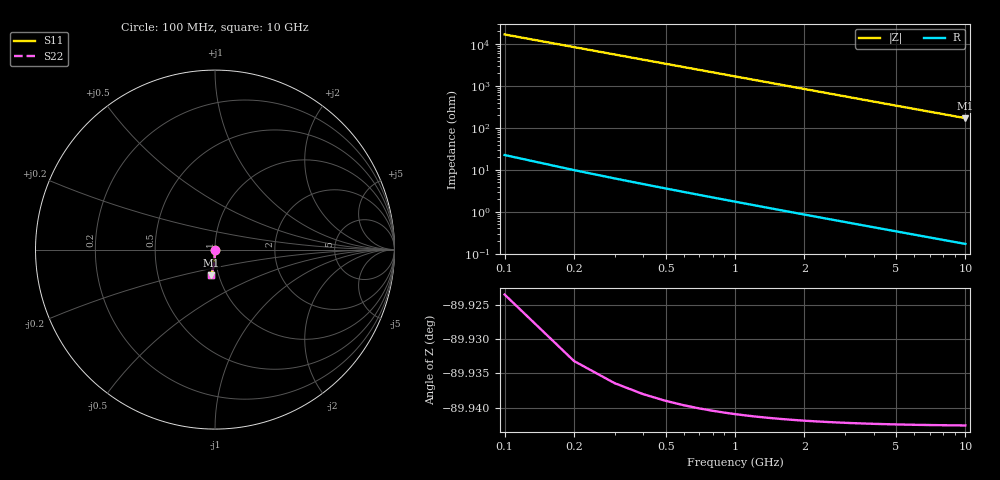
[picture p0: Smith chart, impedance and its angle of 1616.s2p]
# Hz S RI R 50.00
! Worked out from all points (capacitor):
!   100 points, 100 MHz to 10 GHz, reference 50 ohm
!   read as one part in shunt: C = 94.1 fF near 100 MHz
!   lowest |Z| = 171 ohm at 10 GHz (marker M1)
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1e8  -3.9e-06 -0.00148  1 -0.00148  1 -0.00148  -3.9e-06 -0.00148
2e8  -1.19e-05 -0.00296  1 -0.00296  1 -0.00296  -1.19e-05 -0.00296
3e8  -2.43e-05 -0.00443  1 -0.00444  1 -0.00444  -2.43e-05 -0.00443
4e8  -4.11e-05 -0.00591  1 -0.00592  1 -0.00592  -4.11e-05 -0.00591
5e8  -6.22e-05 -0.00739  0.9999 -0.0074  0.9999 -0.0074  -6.22e-05 -0.00739
6e8  -8.77e-05 -0.00886  0.9999 -0.00887  0.9999 -0.00887  -8.77e-05 -0.00886
7e8  -0.000118 -0.0103  0.9999 -0.0104  0.9999 -0.0104  -0.000118 -0.0103
8e8  -0.000152 -0.0118  0.9998 -0.0118  0.9998 -0.0118  -0.000152 -0.0118
9e8  -0.00019 -0.0133  0.9998 -0.0133  0.9998 -0.0133  -0.00019 -0.0133
1.1e9  -0.000281 -0.0162  0.9997 -0.0163  0.9997 -0.0163  -0.000281 -0.0162
1.4e9  -0.000448 -0.0207  0.9996 -0.0207  0.9996 -0.0207  -0.000448 -0.0207
1.8e9  -0.000732 -0.0265  0.9993 -0.0266  0.9993 -0.0266  -0.000732 -0.0265
2.1e9  -0.000991 -0.0309  0.999 -0.031  0.999 -0.031  -0.000991 -0.0309
2.5e9  -0.0014 -0.0368  0.9986 -0.0368  0.9986 -0.0368  -0.0014 -0.0368
2.9e9  -0.00187 -0.0427  0.9981 -0.0427  0.9981 -0.0427  -0.00187 -0.0427
3.4e9  -0.00255 -0.0499  0.9974 -0.05  0.9974 -0.05  -0.00255 -0.0499
4.2e9  -0.00387 -0.0616  0.9961 -0.0616  0.9961 -0.0616  -0.00387 -0.0616
5.1e9  -0.00567 -0.0745  0.9943 -0.0746  0.9943 -0.0746  -0.00567 -0.0745
5.9e9  -0.00754 -0.086  0.9925 -0.0861  0.9925 -0.0861  -0.00754 -0.086
6.7e9  -0.00967 -0.0973  0.9903 -0.0974  0.9903 -0.0974  -0.00967 -0.0973
8.4e9  -0.015 -0.1212  0.985 -0.1213  0.985 -0.1213  -0.015 -0.1212
1e10  -0.0211 -0.1432  0.9789 -0.1433  0.9789 -0.1433  -0.0211 -0.1432
